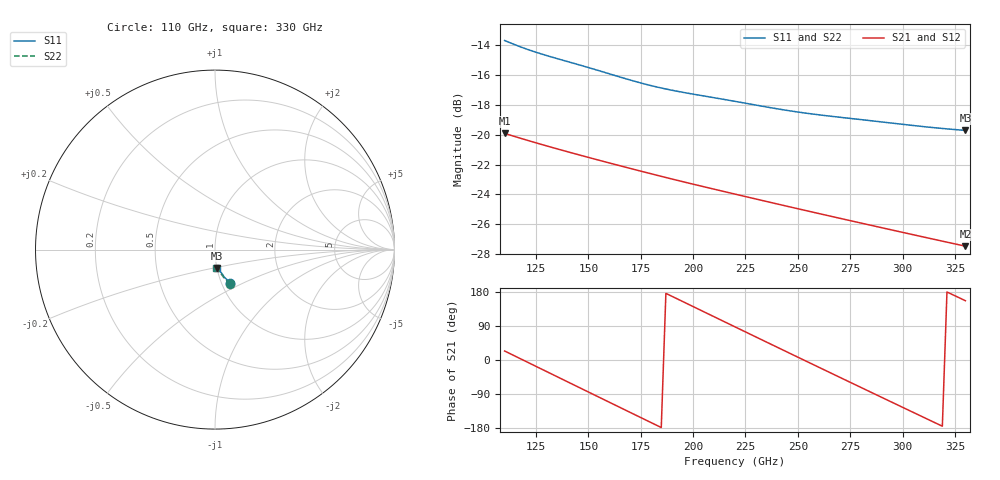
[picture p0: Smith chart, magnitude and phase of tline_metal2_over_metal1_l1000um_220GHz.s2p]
#  GHZ S DB R 50
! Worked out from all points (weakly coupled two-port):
!   101 points, 110 GHz to 330 GHz, reference 50 ohm
!   highest |S21| = -19.91 dB at 110 GHz (marker M1); lowest = -27.5 dB at 330 GHz (marker M2)
!   lowest |S11| = -19.7 dB at 330 GHz (marker M3), VSWR 1.23, Z = 50.2 - j10.4 ohm
!   |S11| at or under -10 dB: start of sweep to end of sweep
!   |S22| runs from -19.7 to -13.6 dB; largest |S21 - S12| = 7.4e-14
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110  -13.68 -65.8  -19.91 23.8  -19.91 23.8  -13.60 -66.5
118.8  -14.17 -66.6  -20.28 -0.0  -20.28 -0.0  -14.09 -67.5
127.6  -14.59 -67.5  -20.65 -23.9  -20.65 -23.9  -14.51 -68.4
138.6  -15.04 -68.7  -21.08 -53.6  -21.08 -53.6  -14.95 -69.7
147.4  -15.39 -69.9  -21.42 -77.4  -21.42 -77.4  -15.29 -70.9
156.2  -15.76 -71.1  -21.75 -101.2  -21.75 -101.2  -15.65 -72.2
167.2  -16.22 -72.2  -22.15 -130.9  -22.15 -130.9  -16.09 -73.4
176  -16.57 -72.8  -22.47 -154.6  -22.47 -154.6  -16.43 -74.1
184.8  -16.87 -73.3  -22.78 -178.2  -22.78 -178.2  -16.71 -74.7
193.6  -17.12 -73.7  -23.09 158.2  -23.09 158.2  -16.95 -75.3
204.6  -17.39 -74.4  -23.46 128.7  -23.46 128.7  -17.21 -76.2
213.4  -17.60 -75.2  -23.76 105.1  -23.76 105.1  -17.42 -77.2
220  -17.76 -75.8  -23.97 87.5  -23.97 87.5  -17.59 -77.9
228.8  -17.98 -76.5  -24.26 64.0  -24.26 64.0  -17.81 -78.8
239.8  -18.25 -77.2  -24.62 34.6  -24.62 34.6  -18.09 -79.8
248.6  -18.45 -77.7  -24.91 11.2  -24.91 11.2  -18.30 -80.4
257.4  -18.62 -78.2  -25.19 -12.2  -25.19 -12.2  -18.48 -80.9
268.4  -18.80 -78.8  -25.54 -41.4  -25.54 -41.4  -18.67 -81.7
277.2  -18.94 -79.5  -25.82 -64.7  -25.82 -64.7  -18.82 -82.5
294.8  -19.22 -80.8  -26.37 -111.1  -26.37 -111.1  -19.13 -84.0
312.4  -19.49 -81.9  -26.92 -157.4  -26.92 -157.4  -19.46 -85.3
330  -19.71 -82.9  -27.46 156.5  -27.46 156.5  -19.74 -86.3
